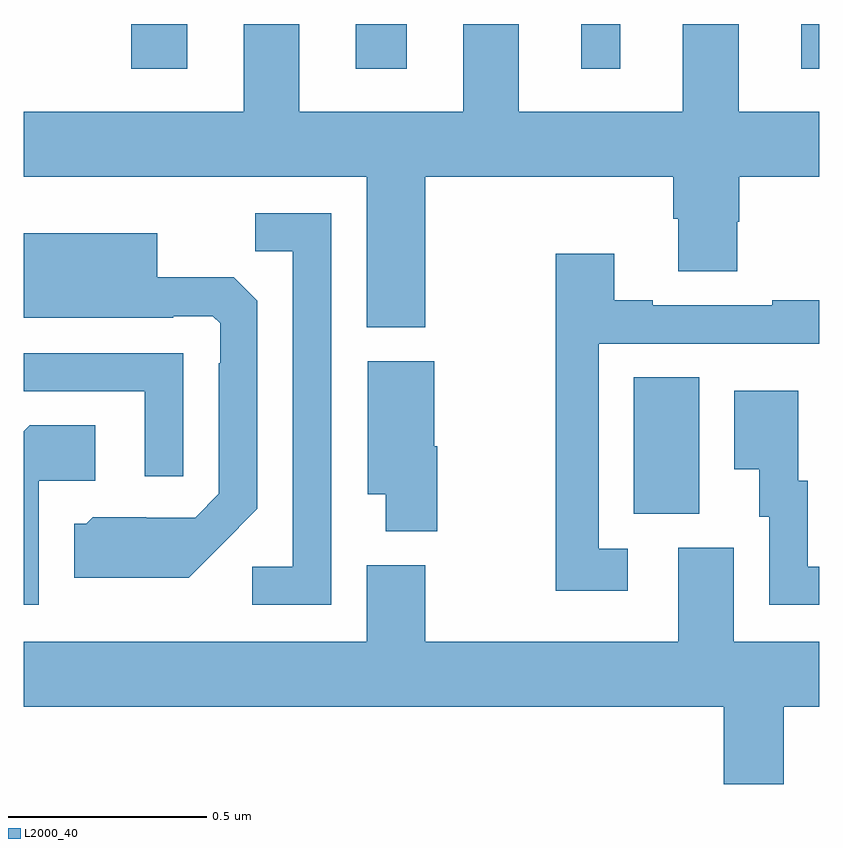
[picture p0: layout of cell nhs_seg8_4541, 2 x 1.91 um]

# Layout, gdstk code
import gdstk
lib = gdstk.Library(unit=1e-6, precision=1e-09)
def R(c, l, rs):  # rectangles x0, y0, x1, y1
    for r in rs: c.add(gdstk.rectangle(r[:2], r[2:], *l))
def P(c, l, *ps):  # polygons
    for p in ps: c.add(gdstk.Polygon(p, *l))
L2000_40 = (2000, 40)

nhs_seg8_4541 = lib.new_cell('nhs_seg8_4541')
R(nhs_seg8_4541, L2000_40, [(173.534,1099.669,173.698,1100.012), (172.271,1100.787,172.411,1100.9), (172.835,1100.787,172.963,1100.9), (173.402,1100.787,173.5,1100.9), (173.954,1100.787,174,1100.9)])
P(nhs_seg8_4541, L2000_40, [(173.01,1100.516),(173.633,1100.516),(173.633,1100.41),(173.645,1100.41),(173.645,1100.278),(173.793,1100.278),(173.793,1100.403),(173.798,1100.403),(173.798,1100.516),(174,1100.516),(174,1100.68),(173.797,1100.68),(173.797,1100.9),(173.657,1100.9),(173.657,1100.68),(173.245,1100.68),(173.245,1100.9),(173.105,1100.9),(173.105,1100.68),(172.693,1100.68),(172.693,1100.9),(172.553,1100.9),(172.553,1100.68),(172,1100.68),(172,1100.516),(172.862,1100.516),(172.862,1100.138),(173.01,1100.138)],
  [(172.773,1100.424),(172.582,1100.424),(172.582,1100.329),(172.677,1100.329),(172.677,1099.536),(172.575,1099.536),(172.575,1099.44),(172.773,1099.44)],
  [(172.495,1099.589),(172.587,1099.682),(172.587,1100.204),(172.528,1100.263),(172.336,1100.263),(172.336,1100.374),(172,1100.374),(172,1100.162),(172.376,1100.162),(172.376,1100.166),(172.476,1100.166),(172.494,1100.148),(172.494,1100.048),(172.491,1100.048),(172.491,1099.719),(172.431,1099.659),(172.308,1099.659),(172.308,1099.66),(172.174,1099.66),(172.158,1099.644),(172.127,1099.644),(172.127,1099.508),(172.415,1099.508)],
  [(173.518,1099.581),(173.445,1099.581),(173.445,1100.097),(174,1100.097),(174,1100.206),(173.881,1100.206),(173.881,1100.193),(173.581,1100.193),(173.581,1100.206),(173.485,1100.206),(173.485,1100.323),(173.337,1100.323),(173.337,1099.476),(173.518,1099.476)],
  [(172.401,1100.073),(172,1100.073),(172,1099.977),(172.305,1099.977),(172.305,1099.764),(172.401,1099.764)],
  [(173.04,1099.839),(173.032,1099.839),(173.032,1100.053),(172.865,1100.053),(172.865,1099.718),(172.91,1099.718),(172.91,1099.625),(173.04,1099.625)],
  [(174,1099.536),(173.971,1099.536),(173.971,1099.752),(173.947,1099.752),(173.947,1099.978),(173.786,1099.978),(173.786,1099.781),(173.849,1099.781),(173.849,1099.662),(173.874,1099.662),(173.874,1099.44),(174,1099.44)],
  [(172.038,1099.752),(172.18,1099.752),(172.18,1099.892),(172.015,1099.892),(172,1099.877),(172,1099.44),(172.038,1099.44)],
  [(173.645,1099.584),(173.645,1099.348),(173.01,1099.348),(173.01,1099.54),(172.862,1099.54),(172.862,1099.348),(172,1099.348),(172,1099.184),(173.759,1099.184),(173.759,1098.99),(173.911,1098.99),(173.911,1099.184),(174,1099.184),(174,1099.348),(173.785,1099.348),(173.785,1099.584)])

lib.write_gds('nhs_seg8_4541.gds')
